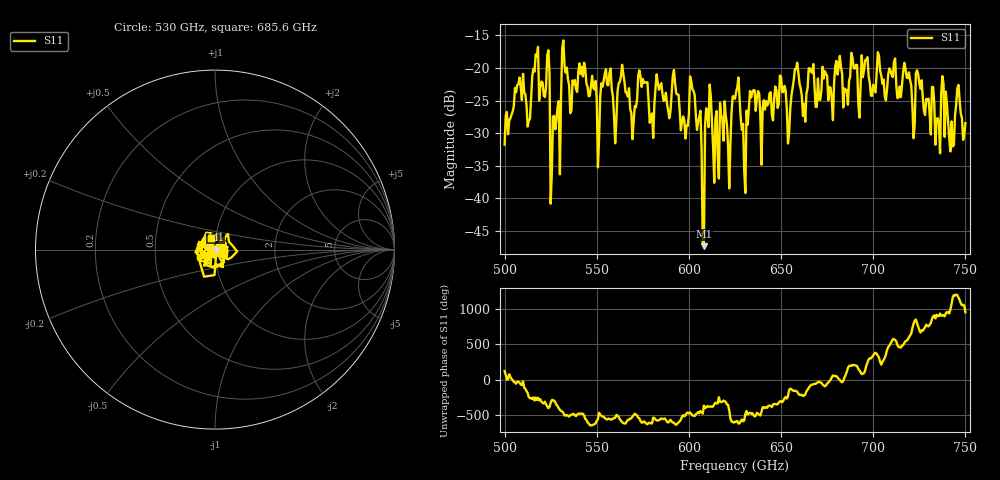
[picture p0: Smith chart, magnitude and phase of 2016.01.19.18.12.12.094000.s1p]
!Created with skrf (http://scikit-rf.org).
# GHz S RI R 50.0
!freq ReS11 ImS11
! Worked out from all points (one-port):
!   401 points, 500 GHz to 750 GHz, reference 50 ohm
!   lowest |S11| = -47.4 dB at 608.1 GHz (marker M1), VSWR 1.01, Z = 50.4 - j0.0663 ohm
!   |S11| at or under -10 dB: start of sweep to end of sweep
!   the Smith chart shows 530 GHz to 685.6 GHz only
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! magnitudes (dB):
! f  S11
! 500 GHz  -31.8
! 506.9 GHz  -22.6
! 513.1 GHz  -28.1
! 516.9 GHz  -17.9
! 523.1 GHz  -18.1
! 526.2 GHz  -27.5
! 531.2 GHz  -16.9
! 541.9 GHz  -19.8
! 551.2 GHz  -30.9
! 562.5 GHz  -22.1
! 569.4 GHz  -30.9
! 573.8 GHz  -21.3
! 580 GHz  -27.0
! 593.8 GHz  -24.0
! 598.8 GHz  -28.8
! 601.9 GHz  -23.3
! 608.1 GHz  -47.4
! 610.6 GHz  -29.1
! 615 GHz  -26.6
! 618.1 GHz  -27.8
! 621.9 GHz  -38.5
! 625 GHz  -24.7
! 629.4 GHz  -28.6
! 634.4 GHz  -23.7
! 656.2 GHz  -23.1
! 687.5 GHz  -21.3
! 718.8 GHz  -21.6
! 750 GHz  -28.5
